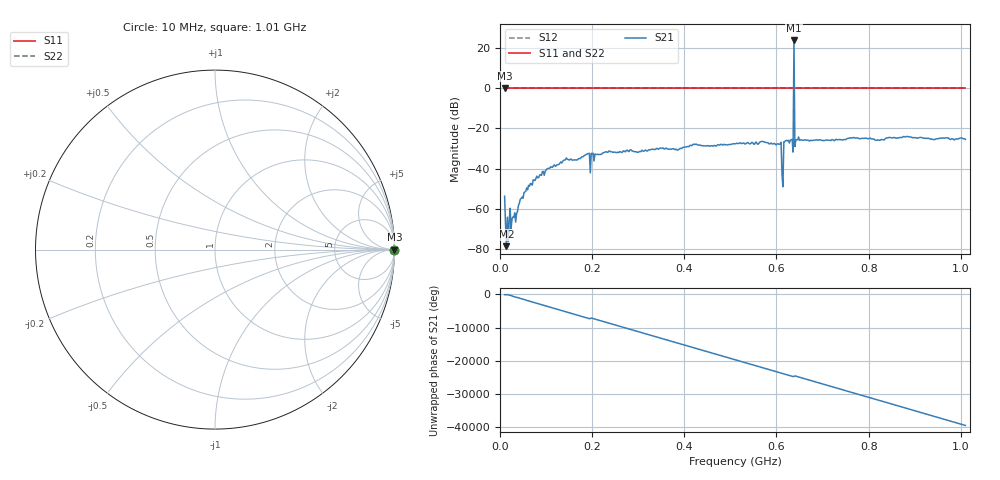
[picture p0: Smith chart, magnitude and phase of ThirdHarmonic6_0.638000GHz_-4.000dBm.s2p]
! 8/15/2025 9:05:12 PM
! C:\ANRITSUVNA\TEMP\TEMP.S2P
! CHANNEL.1
! TR.MEASUREMENT
! RAW.DATA
! RF.CORRECTION.OFF
! AVERAGING.OFF
! IF.BANDWIDTH: 5KHZ
! SWEEPTYPE:  FREQ.SWEEP(Linear)
! Reference Plane Port Info
! PORT:  PORT1  PORT2
! DISTANCE:  0  m  0  m
! TIME:  0  s  0  s
! PHASE.OFFSET:  0  deg.  0  deg.
! LOSS:  0  dB  0  dB
! REF.LOSS:  0  dB  0  dB
! REF.FREQ:  0  Hz  0  Hz
! Power Info
! POWER:  -20  dBm  -20  dBm
! EFF.POWER:  -20  dBm  -20  dBm
! SOURCE.ATTEN:  0  dB  0  dB
! TEST.ATTEN:  0  dB  0  dB
# GHZ S RI R 50.0
! FREQ.GHZ  S11RE  S11IM  S21RE  S21IM  S12RE  S12IM  S22RE  S22IM
!; PortSelection: Port_12
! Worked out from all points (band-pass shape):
!   501 points, 10 MHz to 1.01 GHz, reference 50 ohm
!   highest |S21| = 23.54 dB at 638 MHz (marker M1); lowest = -78.4 dB at 14 MHz (marker M2)
!   |S21| within 3 dB of the highest: 637.8916 MHz to 638.1141 MHz (222.5 kHz wide, 0.0349 % of centre)
!   lowest |S11| = 0.0 dB at 10 MHz (marker M3)
!   |S11| at or under -10 dB: nowhere
!   |S22| runs from 0.0 to 0.0 dB; largest |S21 - S12| = 16
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0.01  1 0  0.000556 -0.002  1 0  1 0
0.014  1 0  9.4e-06 -0.000119  1 0  1 0
0.016  1 0  0.000429 -0.000452  1 0  1 0
0.034  1 0  -0.000397 -0.000258  1 0  1 0
0.048  1 0  0.000502 0.00191  1 0  1 0
0.076  1 0  0.00508 0.000402  1 0  1 0
0.142  1 0  -0.0156 -0.00569  1 0  1 0
0.178  1 0  -0.0193 -0.00431  1 0  1 0
0.344  1 0  0.0292 -0.00755  1 0  1 0
0.51  1 0  -0.0377 0.0164  1 0  1 0
0.606  1 0  -0.00599 -0.0394  1 0  1 0
0.61  1 0  -0.0111 0.0437  1 0  1 0
0.616  1 0  -0.0349 -0.0306  1 0  1 0
0.62  1 0  0.0238 0.0428  1 0  1 0
0.632  1 0  0.0227 -0.0466  1 0  1 0
0.634  1 0  -0.0434 -0.0304  1 0  1 0
0.638  1 0  -14.97 -1.266  1 0  1 0
0.642  1 0  -0.0194 -0.0483  1 0  1 0
0.644  1 0  -0.0505 0.0111  1 0  1 0
0.678  1 0  -0.0258 -0.0428  1 0  1 0
0.844  1 0  0.0458 0.0376  1 0  1 0
1.01  1 0  -0.0527 -0.00676  1 0  1 0
